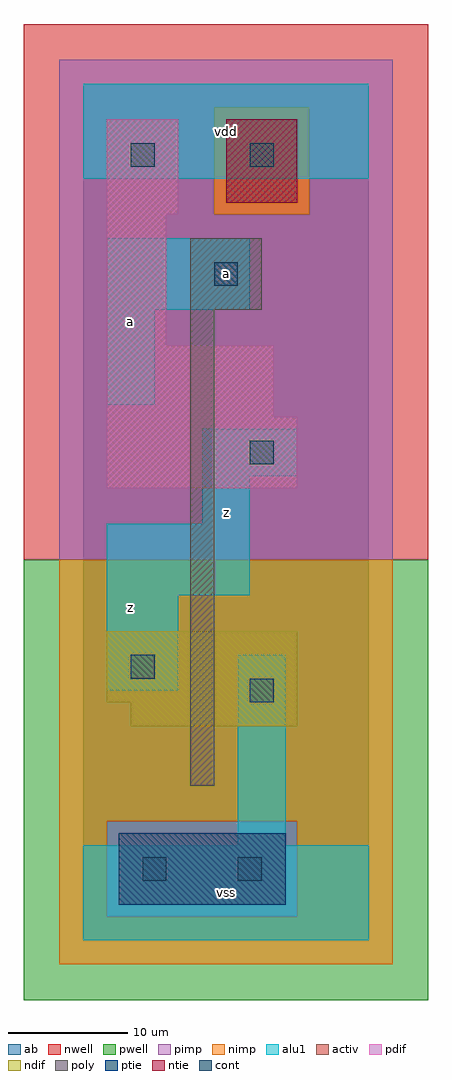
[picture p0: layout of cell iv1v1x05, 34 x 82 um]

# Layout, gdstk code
import gdstk
lib = gdstk.Library(unit=1e-6, precision=1e-09)
def R(c, l, rs):  # rectangles x0, y0, x1, y1
    for r in rs: c.add(gdstk.rectangle(r[:2], r[2:], *l))
ndif = (3, 0)
pdif = (4, 0)
ntie = (5, 0)
ptie = (6, 0)
cont = (25, 0)
pwell = (41, 0)
nwell = (42, 0)
activ = (43, 0)
pimp = (44, 0)
nimp = (45, 0)
poly = (46, 0)
alu1 = (49, 0)
ab = (63, 0)

iv1v1x05 = lib.new_cell('iv1v1x05')
R(iv1v1x05, ndif, [(4,18,18,20), (2,20,18,26)])
R(iv1v1x05, pdif, [(2,38,18,44), (2,44,16,50), (2,50,7,61), (2,61,8,69)])
R(iv1v1x05, ntie, [(12,62,18,69)])
R(iv1v1x05, ptie, [(3,3,17,9)])
R(iv1v1x05, cont, [(5,5,7,7), (13,5,15,7), (14,20,16,22), (4,22,6,24), (14,40,16,42), (11,55,13,57), (4,65,6,67), (14,65,16,67)])
R(iv1v1x05, pwell, [(-5,-5,29,32)])
R(iv1v1x05, nwell, [(-5,32,29,77)])
R(iv1v1x05, activ, [(3,3,17,9), (4,18,18,20), (2,20,18,26), (2,38,18,44), (2,44,16,50), (2,50,7,61), (2,61,8,69), (12,62,18,69)])
R(iv1v1x05, pimp, [(2,2,18,10), (-2,32,26,61), (-2,61,11,70), (19,61,26,70), (-2,70,26,74)])
R(iv1v1x05, nimp, [(-2,-2,26,2), (-2,2,2,10), (18,2,26,10), (-2,10,26,32), (11,61,19,70)])
R(iv1v1x05, poly, [(9,13,11,53), (9,53,15,59)])
R(iv1v1x05, alu1, [(0,0,24,8), (13,8,17,24), (2,21,8,29), (2,29,14,35), (10,35,14,39), (10,39,18,43), (2,45,6,53), (2,53,14,59), (0,64,24,72)])
R(iv1v1x05, ab, [(0,0,24,72)])
iv1v1x05.add(gdstk.Label('z', (4,28), layer=49, texttype=0))
iv1v1x05.add(gdstk.Label('a', (4,52), layer=49, texttype=0))
iv1v1x05.add(gdstk.Label('vss', (12,4), layer=49, texttype=0))
iv1v1x05.add(gdstk.Label('z', (12,36), layer=49, texttype=0))
iv1v1x05.add(gdstk.Label('vdd', (12,68), layer=49, texttype=0))
iv1v1x05.add(gdstk.Label('a', (12,56), layer=49, texttype=0))

lib.write_gds('iv1v1x05.gds')
